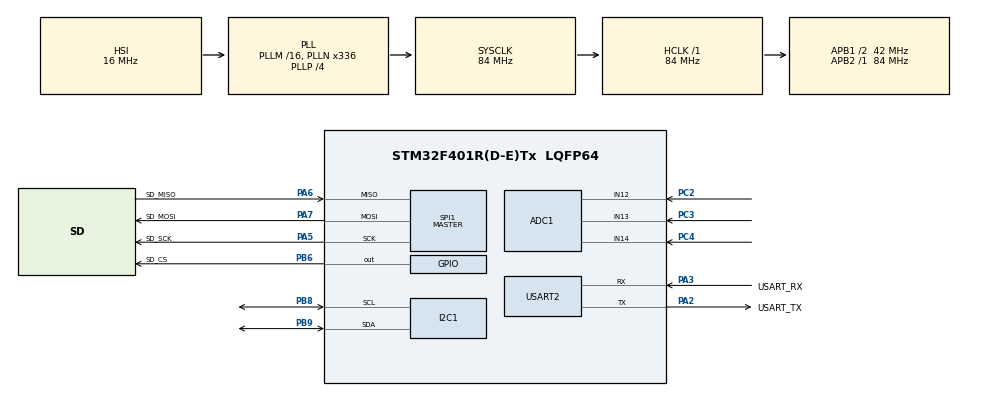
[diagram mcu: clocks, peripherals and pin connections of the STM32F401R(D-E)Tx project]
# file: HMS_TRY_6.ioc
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ADC1.Channel-0\#ChannelRegularConversion=ADC_CHANNEL_12
ADC1.Channel-1\#ChannelRegularConversion=ADC_CHANNEL_13
ADC1.Channel-2\#ChannelRegularConversion=ADC_CHANNEL_14
ADC1.ContinuousConvMode=ENABLE
ADC1.NbrOfConversion=3
ADC1.NbrOfConversionFlag=1
ADC1.Rank-0\#ChannelRegularConversion=1
ADC1.Rank-1\#ChannelRegularConversion=2
ADC1.Rank-2\#ChannelRegularConversion=3
ADC1.SamplingTime-0\#ChannelRegularConversion=ADC_SAMPLETIME_3CYCLES
ADC1.SamplingTime-1\#ChannelRegularConversion=ADC_SAMPLETIME_3CYCLES
ADC1.SamplingTime-2\#ChannelRegularConversion=ADC_SAMPLETIME_3CYCLES
ADC1.master=1
Mcu.Family=STM32F4
Mcu.Name=STM32F401R(D-E)Tx
Mcu.Package=LQFP64
NVIC.PriorityGroup=NVIC_PRIORITYGROUP_4
NVIC.TIM1_TRG_COM_TIM11_IRQn=true\:15\:0\:false\:false\:true\:false\:true\:true
NVIC.TimeBase=TIM1_TRG_COM_TIM11_IRQn
NVIC.TimeBaseIP=TIM11
PA13.GPIO_Label=TMS
PA13.Mode=Serial_Wire
PA13.Signal=SYS_JTMS-SWDIO
PA14.GPIO_Label=TCK
PA14.Mode=Serial_Wire
PA14.Signal=SYS_JTCK-SWCLK
PA2.GPIO_Label=USART_TX
PA2.GPIO_Mode=GPIO_MODE_AF_PP
PA2.GPIO_PuPd=GPIO_NOPULL
PA2.GPIO_Speed=GPIO_SPEED_FREQ_LOW
PA2.Mode=Asynchronous
PA2.Signal=USART2_TX
PA3.GPIO_Label=USART_RX
PA3.GPIO_Mode=GPIO_MODE_AF_PP
PA3.GPIO_PuPd=GPIO_NOPULL
PA3.GPIO_Speed=GPIO_SPEED_FREQ_LOW
PA3.Mode=Asynchronous
PA3.Signal=USART2_RX
PA5.GPIO_Label=SD_SCK
PA5.Mode=Full_Duplex_Master
PA5.Signal=SPI1_SCK
PA6.GPIO_Label=SD_MISO
PA6.Mode=Full_Duplex_Master
PA6.Signal=SPI1_MISO
PA7.GPIO_Label=SD_MOSI
PA7.Mode=Full_Duplex_Master
PA7.Signal=SPI1_MOSI
PB3.GPIO_Label=SWO
PB3.Signal=SYS_JTDO-SWO
PB6.GPIO_Label=SD_CS
PB6.Signal=GPIO_Output
PB8.Mode=I2C
PB8.Signal=I2C1_SCL
PB9.Mode=I2C
PB9.Signal=I2C1_SDA
PC14-OSC32_IN.Mode=LSE-External-Oscillator
PC14-OSC32_IN.Signal=RCC_OSC32_IN
PC15-OSC32_OUT.Mode=LSE-External-Oscillator
PC15-OSC32_OUT.Signal=RCC_OSC32_OUT
PC2.Signal=ADCx_IN12
PC3.Signal=ADCx_IN13
PC4.Signal=ADCx_IN14
PH0\ -\ OSC_IN.Mode=HSE-External-Clock-Source
PH0\ -\ OSC_IN.Signal=RCC_OSC_IN
PH1\ -\ OSC_OUT.Mode=HSE-External-Clock-Source
PH1\ -\ OSC_OUT.Signal=RCC_OSC_OUT
ProjectManager.HeapSize=0x200
ProjectManager.StackSize=0x400
ProjectManager.TargetToolchain=STM32CubeIDE
RCC.48MHZClocksFreq_Value=48000000
RCC.AHBFreq_Value=84000000
RCC.APB1CLKDivider=RCC_HCLK_DIV2
RCC.APB1Freq_Value=42000000
RCC.APB1TimFreq_Value=84000000
RCC.APB2Freq_Value=84000000
RCC.APB2TimFreq_Value=84000000
RCC.CortexFreq_Value=84000000
RCC.HCLKFreq_Value=84000000
RCC.HSE_VALUE=8000000
RCC.HSI_VALUE=16000000
RCC.PLLN=336
RCC.PLLP=RCC_PLLP_DIV4
RCC.PLLQ=7
RCC.SYSCLKFreq_VALUE=84000000
RCC.SYSCLKSource=RCC_SYSCLKSOURCE_PLLCLK
RCC.VCOOutputFreq_Value=336000000
SH.ADCx_IN12.0=ADC1_IN12,IN12
SH.ADCx_IN13.0=ADC1_IN13,IN13
SH.ADCx_IN14.0=ADC1_IN14,IN14
SPI1.BaudRatePrescaler=SPI_BAUDRATEPRESCALER_128
SPI1.Direction=SPI_DIRECTION_2LINES
SPI1.Mode=SPI_MODE_MASTER
SPI1.VirtualType=VM_MASTER
USART2.VirtualMode=VM_ASYNC
VP_FATFS_VS_Generic.Mode=User_defined
VP_SYS_VS_tim11.Mode=TIM11
board=NUCLEO-F401RE

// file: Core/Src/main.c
/* USER CODE BEGIN Header */
/**
 ******************************************************************************
 * @file           : main.c
 * @brief          : Main program body
 ******************************************************************************
 * @attention
 *
 * Copyright (c) 2023 STMicroelectronics.
 * All rights reserved.
 *
 * This software is licensed under terms that can be found in the LICENSE file
 * in the root directory of this software component.
 * If no LICENSE file comes with this software, it is provided AS-IS.
 *
 ******************************************************************************
 */
/* USER CODE END Header */
#include "main.h"
#include "fatfs.h"

/* USER CODE BEGIN Includes */
#include "BML_DEF.h"
#include "uart.h"
#include "MLX90614.h"
#include "max30100.h"
#include "hms.h"
#include "st7783.h"
#include "SDCard.h"
/* USER CODE END Includes */

/* USER CODE BEGIN PD */
#define PRINT_CHAR_LEN	100

#define BEAT_COUNTER_LIMIT	10
#define HR_BEAT_TIMEOUT		60000

/* USER CODE END PD */

ADC_HandleTypeDef hadc1;

I2C_HandleTypeDef hi2c1;

SPI_HandleTypeDef hspi1;

UART_HandleTypeDef huart2;

/* USER CODE BEGIN PV */

char globalStr[25] = { '\0' };
float globalTemp = 1.00;
int globalHR = 1;
int globalSpO2 = 1;
int globalECG = 1;

int8_t menu_select_flag = -1;

//======== MLX90614 Variables ==========//
float temp = 0;
//======================================//

//=========== ECG Variables ============//
int16_t adcData = 0;
int16_t adcDataPrev = 0;
int ECG_HR = 0;
//======================================//

//======== MAX30100 Variables ==========//
max30100_config_t max30100 = { 0 };
uint8_t beatCounter = 7;
int16_t finalHR = 0;
int16_t finalSpO2 = 0;
uint16_t hrBeatTimer = 0;

bool max30100_off = true;
bool max30100_on = false;
//======================================//

/* USER CODE END PV */

void SystemClock_Config(void);
static void MX_GPIO_Init(void);
static void MX_USART2_UART_Init(void);
static void MX_ADC1_Init(void);
static void MX_I2C1_Init(void);
static void MX_SPI1_Init(void);

int main(void) {

	/* MCU Configuration--------------------------------------------------------*/

	/* Reset of all peripherals, Initializes the Flash interface and the Systick. */
	HAL_Init();

	/* Configure the system clock */
	SystemClock_Config();

	/* Initialize all configured peripherals */
	MX_GPIO_Init();
	MX_USART2_UART_Init();
	MX_ADC1_Init();
	MX_I2C1_Init();
	MX_SPI1_Init();
	MX_FATFS_Init();
	/* USER CODE BEGIN 2 */
	uart_print_config(9600);
	USART_INIT(USART6, PORTA, PORTA, 11, 12, 115200);
//  USART_IT_EN(USART6, 0, 1, 0);
	print("Working\r\n");

	gpio_write(PORTB, 6, LOW);

	sd_mount();
	Delay(500);
	sd_space();

	LCD_Begin();
	LCD_SetRotation(0);
	LCD_FillScreen(BLACK);
	displayPic24bit("hmsbg.bmp", 0, 0);

	HMS_bgdisplay();

	sd_deMount();

	for (int i = 4; i > 0; i--)
		LCD_ECGAnimation();

	gpio_config(PORTC, 9, INPUT_MODE, LOW_SPEED, EN_PU, PHPL);
	gpio_IT_config(PORTC, 9, FALLING_EDGE);
	gpio_IT_EN(9, EXTI9_5_IRQn);

	uint8_t mlx90614_workingFlag = 1, mlx90614_status = 0;

	char print_char[PRINT_CHAR_LEN] = { 0 };

	if (!(mlx90614_init())) {
		print("Error in MLX90614 INIT\n");
		mlx90614_workingFlag = 0;
	}

	uint32_t max30100_startTime = HAL_GetTick(), max30100_lapsedTime = 500;
	uint32_t temp_startTime = HAL_GetTick(), temp_lapsedTime = 500;
	uint32_t ecg_startTime = HAL_GetTick(), ecg_lapsedTime = 60000;
	uint32_t wifi_startTime = HAL_GetTick(), wifi_lapsedTime = 2000;
	max30100_data_t result = { };

	/* USER CODE END 2 */

	/* Infinite loop */
	/* USER CODE BEGIN WHILE */
	while (1) {
		if (menu_select_flag == 0) {
			if (mlx90614_workingFlag == 1) {
				mlx90614_status = mlx90614_getObject1(&temp);
				if ((mlx90614_status == true)
						&& ((HAL_GetTick() - temp_startTime) > temp_lapsedTime)) {
					print("Temp in Celsius: = %0.2f\n", temp);
					if ((temp > 0) && (temp < 100)) {
						LCD_SetTextColor(WHITE, LCD_Color565(30, 35, 247));
						LCD_SetTextSize(2);
						LCD_SetCursor(30, 145);
						LCD_Printf("%0.1f", temp);
						globalTemp = temp;
					}
					temp_startTime = HAL_GetTick();
					//					Delay(500);
				} else {
					mlx90614_workingFlag = 0;
				}
			} else {
				if (!(mlx90614_init())) {
					print("Error in MLX90614 INIT\n");
					LCD_SetTextColor(WHITE, LCD_Color565(30, 35, 247));
					LCD_SetTextSize(2);
					LCD_SetCursor(30, 145);
					LCD_Printf("....");
					MX_I2C1_Init();
//					Delay(500);
					mlx90614_workingFlag = 0;
				} else {
					mlx90614_workingFlag = 1;
				}
			}
		} else if (menu_select_flag == 1) {
			if (max30100_update(&max30100, &result) != HAL_OK) {
				print("Error Reading...Retrying\n");
				MX_I2C1_Init();
				max30100_init(&max30100, &hi2c1,
				MAX30100_DEFAULT_OPERATING_MODE,
				MAX30100_DEFAULT_SAMPLING_RATE,
				MAX30100_DEFAULT_LED_PULSE_WIDTH,
				MAX30100_DEFAULT_IR_LED_CURRENT,
				MAX30100_DEFAULT_START_RED_LED_CURRENT,
				MAX30100_DEFAULT_MEAN_FILTER_SIZE,
				MAX30100_DEFAULT_PULSE_BPM_SAMPLE_SIZE,
				true,
				false);
				//				max30100_resume(&max30100);
				Delay(1000);
			} else {
				if (max30100_off) {
					max30100_resume(&max30100);
					max30100_off = false;
					max30100_on = true;
				}
				hrBeatTimer = HAL_GetTick();
				if (result.pulse_detected) {
					print("BEAT: %d\n", beatCounter++);
				}
				if (HAL_GetTick() - max30100_startTime > max30100_lapsedTime) {
					if (result.ir_dc_value < 10000.00) {
						print("No finger Detected\n");
						max30100.current_bpm = 0.0;
						max30100.current_spO2 = 0.0;
					} else {
						if (beatCounter < BEAT_COUNTER_LIMIT) {
							print("BPM: %0.2f | SpO2: %0.2f%%\n",
									result.heart_bpm, result.spO2);
						} else if (beatCounter >= BEAT_COUNTER_LIMIT) {
							finalHR = result.heart_bpm;
							finalSpO2 = result.spO2;
							finalSpO2++;
							print(
									"//===============| Final HR: %d | SpO2: %d%%|==============//\n",
									finalHR, finalSpO2);
							beatCounter = 0;

							if (finalHR > 0) {
								globalHR = finalHR;
								LCD_SetTextColor(WHITE, RED);
								LCD_SetTextSize(2);
								LCD_SetCursor(38, 70);
								if(finalHR < 100)	LCD_Printf("%d ", globalHR);
								else 				LCD_Printf("%d", globalHR);
							}
							if ((finalSpO2 > 0) && (finalSpO2 < 100)) {
								globalSpO2 = finalSpO2;
								LCD_SetTextColor(WHITE, LCD_Color565(16, 220, 21));
								LCD_SetCursor(160, 70);
								LCD_Printf("%d", finalSpO2);
							}
						}
					}

					max30100_startTime = HAL_GetTick();
				}
				HAL_Delay(10);

				//				print("%0.2f, %0.2f\n", result.dc_filtered_ir,
				//						result.dc_filtered_red);
			}
		} else if (menu_select_flag == 2) {
			if (max30100_on) {
				max30100_shutdown(&max30100);
				HAL_I2C_DeInit(&hi2c1);
				max30100_off = true;
				max30100_on = false;
			}
			adcDataPrev = adcData;
			HAL_ADC_Start(&hadc1);
			HAL_ADC_PollForConversion(&hadc1, 100);
			adcData = (uint16_t) HAL_ADC_GetValue(&hadc1);
			sprintf(print_char, "Analog Val: %d\n", adcData);
			USART_WRITE(USART2, print_char, strlen(print_char), 10);

			if ((adcData - adcDataPrev) > 800) {
				ECG_HR += 1;
			}

			//			LCD_ECGAnimation();

			if ((HAL_GetTick() - ecg_startTime) > ecg_lapsedTime) {
				if ((ECG_HR > 0) && (ECG_HR < 100))
					globalECG = ECG_HR;

				sprintf(print_char,
						"<===========|The ECG Heart Rate is: %d|=========>\r\n",
						ECG_HR);
				USART_WRITE(USART2, print_char, strlen(print_char), 10);
				LCD_SetTextColor(BLACK, WHITE);
				LCD_SetCursor(180, 270);
				LCD_SetTextSize(2);
				if (globalECG < 10)
					LCD_Printf(" %d", globalECG);
				else if (globalECG < 100)
					LCD_Printf("%d", globalECG);
				ECG_HR = 0;
				LCD_ECGAnimation();
				ecg_startTime = HAL_GetTick();
			}

		} else if ((menu_select_flag < -1) && (menu_select_flag > 3)) {
			menu_select_flag = -1;
			print("Oh no, a Glitch!!\n\r");
			Delay(500);
			print("We're good\n\r");
			Delay(500);
		}

		if ((HAL_GetTick() - wifi_startTime) > wifi_lapsedTime) {
			sprintf(globalStr, "T:%0.2f|H:%d|S:%d|E:%d\r\n", globalTemp,
					globalHR, globalSpO2, globalECG);
			USART_WRITE(USART6, globalStr, strlen(globalStr), 10);
			wifi_startTime = HAL_GetTick();
		}
		/* USER CODE END WHILE */

	}
}

void SystemClock_Config(void) {
	RCC_OscInitTypeDef RCC_OscInitStruct = { 0 };
	RCC_ClkInitTypeDef RCC_ClkInitStruct = { 0 };

	/** Configure the main internal regulator output voltage
	 */
	__HAL_RCC_PWR_CLK_ENABLE();
	__HAL_PWR_VOLTAGESCALING_CONFIG(PWR_REGULATOR_VOLTAGE_SCALE2);

	/** Initializes the RCC Oscillators according to the specified parameters
	 * in the RCC_OscInitTypeDef structure.
	 */
	RCC_OscInitStruct.OscillatorType = RCC_OSCILLATORTYPE_HSI;
	RCC_OscInitStruct.HSIState = RCC_HSI_ON;
	RCC_OscInitStruct.HSICalibrationValue = RCC_HSICALIBRATION_DEFAULT;
	RCC_OscInitStruct.PLL.PLLState = RCC_PLL_ON;
	RCC_OscInitStruct.PLL.PLLSource = RCC_PLLSOURCE_HSI;
	RCC_OscInitStruct.PLL.PLLM = 16;
	RCC_OscInitStruct.PLL.PLLN = 336;
	RCC_OscInitStruct.PLL.PLLP = RCC_PLLP_DIV4;
	RCC_OscInitStruct.PLL.PLLQ = 7;
	if (HAL_RCC_OscConfig(&RCC_OscInitStruct) != HAL_OK) {
		Error_Handler();
	}

	/** Initializes the CPU, AHB and APB buses clocks
	 */
	RCC_ClkInitStruct.ClockType = RCC_CLOCKTYPE_HCLK | RCC_CLOCKTYPE_SYSCLK
			| RCC_CLOCKTYPE_PCLK1 | RCC_CLOCKTYPE_PCLK2;
	RCC_ClkInitStruct.SYSCLKSource = RCC_SYSCLKSOURCE_PLLCLK;
	RCC_ClkInitStruct.AHBCLKDivider = RCC_SYSCLK_DIV1;
	RCC_ClkInitStruct.APB1CLKDivider = RCC_HCLK_DIV2;
	RCC_ClkInitStruct.APB2CLKDivider = RCC_HCLK_DIV1;

	if (HAL_RCC_ClockConfig(&RCC_ClkInitStruct, FLASH_LATENCY_2) != HAL_OK) {
		Error_Handler();
	}
}

static void MX_ADC1_Init(void) {

	ADC_ChannelConfTypeDef sConfig = { 0 };

	/** Configure the global features of the ADC (Clock, Resolution, Data Alignment and number of conversion)
	 */
	hadc1.Instance = ADC1;
	hadc1.Init.ClockPrescaler = ADC_CLOCK_SYNC_PCLK_DIV4;
	hadc1.Init.Resolution = ADC_RESOLUTION_12B;
	hadc1.Init.ScanConvMode = DISABLE;
	hadc1.Init.ContinuousConvMode = ENABLE;
	hadc1.Init.DiscontinuousConvMode = DISABLE;
	hadc1.Init.ExternalTrigConvEdge = ADC_EXTERNALTRIGCONVEDGE_NONE;
	hadc1.Init.ExternalTrigConv = ADC_SOFTWARE_START;
	hadc1.Init.DataAlign = ADC_DATAALIGN_RIGHT;
	hadc1.Init.NbrOfConversion = 1;
	hadc1.Init.DMAContinuousRequests = DISABLE;
	hadc1.Init.EOCSelection = ADC_EOC_SINGLE_CONV;
	if (HAL_ADC_Init(&hadc1) != HAL_OK) {
		Error_Handler();
	}

	/** Configure for the selected ADC regular channel its corresponding rank in the sequencer and its sample time.
	 */
	sConfig.Channel = ADC_CHANNEL_14;
	sConfig.Rank = 1;
	sConfig.SamplingTime = ADC_SAMPLETIME_3CYCLES;
	if (HAL_ADC_ConfigChannel(&hadc1, &sConfig) != HAL_OK) {
		Error_Handler();
	}

}

static void MX_I2C1_Init(void) {

	hi2c1.Instance = I2C1;
	hi2c1.Init.ClockSpeed = 100000;
	hi2c1.Init.DutyCycle = I2C_DUTYCYCLE_2;
	hi2c1.Init.OwnAddress1 = 0;
	hi2c1.Init.AddressingMode = I2C_ADDRESSINGMODE_7BIT;
	hi2c1.Init.DualAddressMode = I2C_DUALADDRESS_DISABLE;
	hi2c1.Init.OwnAddress2 = 0;
	hi2c1.Init.GeneralCallMode = I2C_GENERALCALL_DISABLE;
	hi2c1.Init.NoStretchMode = I2C_NOSTRETCH_DISABLE;
	if (HAL_I2C_Init(&hi2c1) != HAL_OK) {
		Error_Handler();
	}

}

static void MX_SPI1_Init(void) {

	/* SPI1 parameter configuration*/
	hspi1.Instance = SPI1;
	hspi1.Init.Mode = SPI_MODE_MASTER;
	hspi1.Init.Direction = SPI_DIRECTION_2LINES;
	hspi1.Init.DataSize = SPI_DATASIZE_8BIT;
	hspi1.Init.CLKPolarity = SPI_POLARITY_LOW;
	hspi1.Init.CLKPhase = SPI_PHASE_1EDGE;
	hspi1.Init.NSS = SPI_NSS_SOFT;
	hspi1.Init.BaudRatePrescaler = SPI_BAUDRATEPRESCALER_128;
	hspi1.Init.FirstBit = SPI_FIRSTBIT_MSB;
	hspi1.Init.TIMode = SPI_TIMODE_DISABLE;
	hspi1.Init.CRCCalculation = SPI_CRCCALCULATION_DISABLE;
	hspi1.Init.CRCPolynomial = 10;
	if (HAL_SPI_Init(&hspi1) != HAL_OK) {
		Error_Handler();
	}

}

static void MX_USART2_UART_Init(void) {

	huart2.Instance = USART2;
	huart2.Init.BaudRate = 115200;
	huart2.Init.WordLength = UART_WORDLENGTH_8B;
	huart2.Init.StopBits = UART_STOPBITS_1;
	huart2.Init.Parity = UART_PARITY_NONE;
	huart2.Init.Mode = UART_MODE_TX_RX;
	huart2.Init.HwFlowCtl = UART_HWCONTROL_NONE;
	huart2.Init.OverSampling = UART_OVERSAMPLING_16;
	if (HAL_UART_Init(&huart2) != HAL_OK) {
		Error_Handler();
	}

}

static void MX_GPIO_Init(void) {
	GPIO_InitTypeDef GPIO_InitStruct = { 0 };

	/* GPIO Ports Clock Enable */
	__HAL_RCC_GPIOC_CLK_ENABLE();
	__HAL_RCC_GPIOH_CLK_ENABLE();
	__HAL_RCC_GPIOA_CLK_ENABLE();
	__HAL_RCC_GPIOB_CLK_ENABLE();

	/*Configure GPIO pin Output Level */
	HAL_GPIO_WritePin(SD_CS_GPIO_Port, SD_CS_Pin, GPIO_PIN_RESET);

	/*Configure GPIO pin : SD_CS_Pin */
	GPIO_InitStruct.Pin = SD_CS_Pin;
	GPIO_InitStruct.Mode = GPIO_MODE_OUTPUT_PP;
	GPIO_InitStruct.Pull = GPIO_NOPULL;
	GPIO_InitStruct.Speed = GPIO_SPEED_FREQ_LOW;
	HAL_GPIO_Init(SD_CS_GPIO_Port, &GPIO_InitStruct);

}

/* USER CODE BEGIN 4 */
void EXTI9_5_IRQHandler() {
	if (gpio_IT_CHK(9)) {
		for (int i = 2000000; i > 0; i--)
			;
		menu_select_flag = (menu_select_flag + 1) % 3;

//		print("interrupt: %d\r\n", menu_select_flag);
		gpio_IT_CLR(9);
	}
}
/* USER CODE END 4 */

void HAL_TIM_PeriodElapsedCallback(TIM_HandleTypeDef *htim) {
	if (htim->Instance == TIM11) {
		HAL_IncTick();
	}
}

void Error_Handler(void) {
	__disable_irq();
	while (1) {
	}
}
